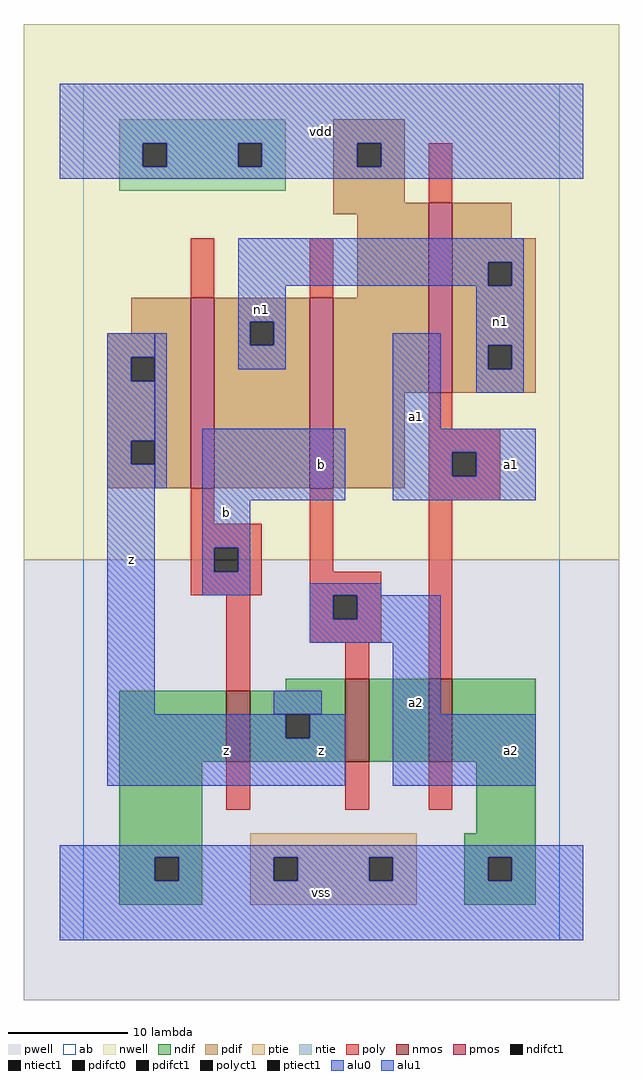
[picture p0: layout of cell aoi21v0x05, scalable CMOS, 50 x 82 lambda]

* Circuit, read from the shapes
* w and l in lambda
.subckt aoi21v0x05 a1 a2 b n1 vdd vss z
M1 z b vss vss nfet w=6 l=2
M2 n2 a2 z vss nfet w=7 l=2
M3 vss a1 n2 vss nfet w=7 l=2
M4 n1 b z vdd pfet w=16 l=2
M5 vdd a2 n1 vdd pfet w=16 l=2
M6 n1 a1 vdd vdd pfet w=16 l=2
.ends

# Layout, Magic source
magic
tech scmos
<< ab >>
rect 0 0 40 72
<< nwell >>
rect -5 32 45 77
<< pwell >>
rect -5 -5 45 32
<< poly >>
rect 29 62 31 67
rect 9 54 11 59
rect 19 54 21 59
rect 29 43 31 46
rect 29 41 35 43
rect 29 39 31 41
rect 33 39 35 41
rect 9 35 11 38
rect 9 33 15 35
rect 9 31 11 33
rect 13 31 15 33
rect 9 29 15 31
rect 19 31 21 38
rect 29 37 35 39
rect 19 29 25 31
rect 12 21 14 29
rect 19 27 21 29
rect 23 27 25 29
rect 19 25 25 27
rect 22 22 24 25
rect 29 22 31 37
rect 12 11 14 15
rect 22 11 24 15
rect 29 11 31 15
<< ndif >>
rect 17 21 22 22
rect 3 15 12 21
rect 14 19 22 21
rect 14 17 17 19
rect 19 17 22 19
rect 14 15 22 17
rect 24 15 29 22
rect 31 15 38 22
rect 3 7 10 15
rect 33 9 38 15
rect 3 5 6 7
rect 8 5 10 7
rect 3 3 10 5
rect 32 7 38 9
rect 32 5 34 7
rect 36 5 38 7
rect 32 3 38 5
<< pdif >>
rect 21 67 27 69
rect 21 65 23 67
rect 25 65 27 67
rect 21 62 27 65
rect 21 61 29 62
rect 23 54 29 61
rect 4 51 9 54
rect 2 49 9 51
rect 2 47 4 49
rect 6 47 9 49
rect 2 42 9 47
rect 2 40 4 42
rect 6 40 9 42
rect 2 38 9 40
rect 11 52 19 54
rect 11 50 14 52
rect 16 50 19 52
rect 11 38 19 50
rect 21 46 29 54
rect 31 59 36 62
rect 31 57 38 59
rect 31 55 34 57
rect 36 55 38 57
rect 31 50 38 55
rect 31 48 34 50
rect 36 48 38 50
rect 31 46 38 48
rect 21 38 27 46
<< alu1 >>
rect -2 67 42 72
rect -2 65 5 67
rect 7 65 13 67
rect 15 65 23 67
rect 25 65 42 67
rect -2 64 42 65
rect 2 49 6 51
rect 2 47 4 49
rect 2 42 6 47
rect 2 40 4 42
rect 2 19 6 40
rect 26 43 30 51
rect 10 37 22 43
rect 26 41 38 43
rect 26 39 31 41
rect 33 39 38 41
rect 26 37 38 39
rect 10 33 14 37
rect 10 31 11 33
rect 13 31 14 33
rect 10 29 14 31
rect 19 29 25 30
rect 19 27 21 29
rect 23 27 30 29
rect 19 25 30 27
rect 26 19 30 25
rect 2 17 17 19
rect 19 17 22 19
rect 2 13 22 17
rect 26 13 38 19
rect -2 7 42 8
rect -2 5 6 7
rect 8 5 16 7
rect 18 5 24 7
rect 26 5 34 7
rect 36 5 42 7
rect -2 0 42 5
<< ptie >>
rect 14 7 28 9
rect 14 5 16 7
rect 18 5 24 7
rect 26 5 28 7
rect 14 3 28 5
<< ntie >>
rect 3 67 17 69
rect 3 65 5 67
rect 7 65 13 67
rect 15 65 17 67
rect 3 63 17 65
<< nmos >>
rect 12 15 14 21
rect 22 15 24 22
rect 29 15 31 22
<< pmos >>
rect 9 38 11 54
rect 19 38 21 54
rect 29 46 31 62
<< polyct1 >>
rect 31 39 33 41
rect 11 31 13 33
rect 21 27 23 29
<< ndifct1 >>
rect 17 17 19 19
rect 6 5 8 7
rect 34 5 36 7
<< ntiect1 >>
rect 5 65 7 67
rect 13 65 15 67
<< ptiect1 >>
rect 16 5 18 7
rect 24 5 26 7
<< pdifct0 >>
rect 14 50 16 52
rect 34 55 36 57
rect 34 48 36 50
<< pdifct1 >>
rect 23 65 25 67
rect 4 47 6 49
rect 4 40 6 42
<< alu0 >>
rect 13 57 37 59
rect 13 55 34 57
rect 36 55 37 57
rect 13 52 17 55
rect 6 38 7 51
rect 13 50 14 52
rect 16 50 17 52
rect 13 48 17 50
rect 33 50 37 55
rect 33 48 34 50
rect 36 48 37 50
rect 33 46 37 48
rect 16 19 20 21
<< labels >>
rlabel alu0 15 53 15 53 6 n1
rlabel alu0 35 52 35 52 6 n1
rlabel alu1 4 32 4 32 6 z
rlabel alu1 12 16 12 16 6 z
rlabel alu1 12 36 12 36 6 b
rlabel alu1 20 4 20 4 6 vss
rlabel alu1 28 20 28 20 6 a2
rlabel alu1 20 16 20 16 6 z
rlabel alu1 20 40 20 40 6 b
rlabel alu1 28 44 28 44 6 a1
rlabel alu1 20 68 20 68 6 vdd
rlabel alu1 36 16 36 16 6 a2
rlabel alu1 36 40 36 40 6 a1
<< end >>
